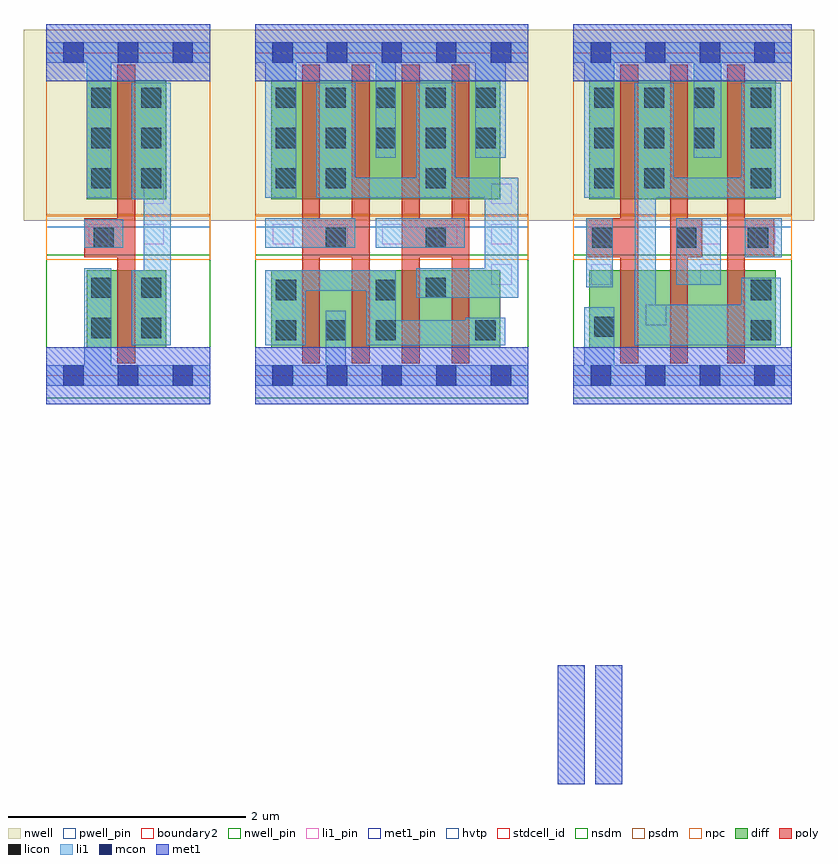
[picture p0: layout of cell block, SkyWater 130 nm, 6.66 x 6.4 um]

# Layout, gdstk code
import gdstk
lib = gdstk.Library(unit=1e-6, precision=1e-09)
def R(c, l, rs):  # rectangles x0, y0, x1, y1
    for r in rs: c.add(gdstk.rectangle(r[:2], r[2:], *l))
def A(c, l, x, y, w, h, nx, ny, dx, dy):  # array of equal rectangles
    R(c, l, [(x+i*dx, y+j*dy, x+i*dx+w, y+j*dy+h) for i in range(nx) for j in range(ny)])
def P(c, l, *ps):  # polygons
    for p in ps: c.add(gdstk.Polygon(p, *l))
nwell_pin = (64, 16)
nwell = (64, 20)
diff = (65, 20)
poly = (66, 20)
licon = (66, 44)
li1_pin = (67, 16)
li1 = (67, 20)
mcon = (67, 44)
met1_pin = (68, 16)
met1 = (68, 20)
hvtp = (78, 44)
stdcell_id = (81, 4)
nsdm = (93, 44)
psdm = (94, 20)
npc = (95, 20)
pwell_pin = (122, 16)
boundary2 = (236, 0)

sky130_fd_sc_hd__inv_1 = lib.new_cell('sky130_fd_sc_hd__inv_1')
R(sky130_fd_sc_hd__inv_1, nwell_pin, [(0.145,2.635,0.315,2.805), (0.145,2.635,0.315,2.805)])
R(sky130_fd_sc_hd__inv_1, nwell, [(-0.19,1.305,1.57,2.91)])
R(sky130_fd_sc_hd__inv_1, diff, [(0.34,0.235,1.01,0.885), (0.34,1.485,1.01,2.485)])
P(sky130_fd_sc_hd__inv_1, poly, [(0.6,0.105),(0.6,0.995),(0.32,0.995),(0.32,1.325),(0.6,1.325),(0.6,2.615),(0.75,2.615),(0.75,0.105)])
A(sky130_fd_sc_hd__inv_1, licon, 0.38, 1.575, 0.17, 0.17, 1, 3, 0, 0.34)
A(sky130_fd_sc_hd__inv_1, licon, 0.8, 1.575, 0.17, 0.17, 1, 3, 0, 0.34)
R(sky130_fd_sc_hd__inv_1, licon, [(0.38,0.315,0.55,0.485), (0.8,0.315,0.97,0.485), (0.38,0.655,0.55,0.825), (0.8,0.655,0.97,0.825), (0.4,1.075,0.57,1.245)])
R(sky130_fd_sc_hd__inv_1, li1_pin, [(0.36,1.105,0.53,1.275), (0.82,1.105,0.99,1.275), (0.82,1.445,0.99,1.615)])
R(sky130_fd_sc_hd__inv_1, li1, [(0,-0.085,1.38,0.085), (0.32,0.005,0.55,0.905), (0.32,1.075,0.65,1.315), (0.34,1.495,0.55,2.675), (0,2.635,1.38,2.805)])
P(sky130_fd_sc_hd__inv_1, li1, [(0.72,0.255),(0.72,0.885),(0.82,0.885),(0.82,1.485),(0.72,1.485),(0.72,2.465),(1.05,2.465),(1.05,0.255)])
A(sky130_fd_sc_hd__inv_1, mcon, 0.145, -0.085, 0.17, 0.17, 3, 2, 0.46, 2.72)
R(sky130_fd_sc_hd__inv_1, met1_pin, [(0.145,-0.085,0.315,0.085), (0.145,-0.085,0.315,0.085), (0.145,2.635,0.315,2.805), (0.145,2.635,0.315,2.805)])
R(sky130_fd_sc_hd__inv_1, hvtp, [(0,1.25,1.38,2.72)])
R(sky130_fd_sc_hd__inv_1, stdcell_id, [(0,0,1.38,2.72)])
R(sky130_fd_sc_hd__inv_1, nsdm, [(0,-0.19,1.38,1.015)])
R(sky130_fd_sc_hd__inv_1, psdm, [(0,1.355,1.38,2.91)])
R(sky130_fd_sc_hd__inv_1, npc, [(0,0.975,1.38,1.345)])
R(sky130_fd_sc_hd__inv_1, pwell_pin, [(0.145,-0.085,0.315,0.085), (0.145,-0.085,0.315,0.085)])
R(sky130_fd_sc_hd__inv_1, boundary2, [(0,0,1.38,2.72)])
sky130_fd_sc_hd__inv_1.add(gdstk.FlexPath([(0,2.72),(1.38,2.72)], 0.48, ends="flush", simple_path=True, layer=68, datatype=20))  # met1
sky130_fd_sc_hd__inv_1.add(gdstk.FlexPath([(0,0),(1.38,0)], 0.48, ends="flush", simple_path=True, layer=68, datatype=20))  # met1
sky130_fd_sc_hd__inv_1.add(gdstk.Label('Y', (0.905,1.53), layer=67, texttype=5))
sky130_fd_sc_hd__inv_1.add(gdstk.Label('Y', (0.905,1.19), layer=67, texttype=5))
sky130_fd_sc_hd__inv_1.add(gdstk.Label('A', (0.445,1.19), layer=67, texttype=5))
sky130_fd_sc_hd__inv_1.add(gdstk.Label('VPB', (0.23,2.72), layer=64, texttype=5))
sky130_fd_sc_hd__inv_1.add(gdstk.Label('VNB', (0.23,0), layer=64, texttype=59))
sky130_fd_sc_hd__inv_1.add(gdstk.Label('VGND', (0.23,0), layer=68, texttype=5))
sky130_fd_sc_hd__inv_1.add(gdstk.Label('VPWR', (0.23,2.72), layer=68, texttype=5))
sky130_fd_sc_hd__inv_1.add(gdstk.Label('inv_1', (0,0), layer=83, texttype=44))

sky130_fd_sc_hd__nand2_2 = lib.new_cell('sky130_fd_sc_hd__nand2_2')
R(sky130_fd_sc_hd__nand2_2, nwell_pin, [(0.15,2.635,0.32,2.805)])
R(sky130_fd_sc_hd__nand2_2, nwell, [(-0.19,1.305,2.49,2.91)])
R(sky130_fd_sc_hd__nand2_2, diff, [(0.135,0.235,2.065,0.885), (0.135,1.485,2.065,2.485)])
P(sky130_fd_sc_hd__nand2_2, poly, [(1.235,0.105),(1.235,2.615),(1.385,2.615),(1.385,1.325),(1.655,1.325),(1.655,2.615),(1.805,2.615),(1.805,0.105),(1.655,0.105),(1.655,0.995),(1.385,0.995),(1.385,0.105)],
  [(0.395,0.105),(0.395,2.615),(0.545,2.615),(0.545,1.325),(0.815,1.325),(0.815,2.615),(0.965,2.615),(0.965,0.105),(0.815,0.105),(0.815,0.995),(0.545,0.995),(0.545,0.105)])
A(sky130_fd_sc_hd__nand2_2, licon, 0.175, 0.295, 0.17, 0.17, 3, 1, 0.42, 0)
A(sky130_fd_sc_hd__nand2_2, licon, 0.175, 1.915, 0.17, 0.17, 5, 2, 0.42, 0.34)
R(sky130_fd_sc_hd__nand2_2, licon, [(1.855,0.295,2.025,0.465), (0.175,0.635,0.345,0.805), (1.015,0.635,1.185,0.805), (1.435,0.655,1.605,0.825), (0.595,1.075,0.765,1.245), (1.435,1.075,1.605,1.245), (0.175,1.575,0.345,1.745), (0.595,1.575,0.765,1.745), (1.435,1.575,1.605,1.745)])
A(sky130_fd_sc_hd__nand2_2, li1_pin, 0.15, 1.105, 0.17, 0.17, 5, 1, 0.46, 0)
R(sky130_fd_sc_hd__nand2_2, li1_pin, [(1.99,0.765,2.16,0.935), (1.99,1.445,2.16,1.615)])
R(sky130_fd_sc_hd__nand2_2, li1, [(0.085,1.075,0.845,1.325), (1.015,1.075,1.765,1.325)])
P(sky130_fd_sc_hd__nand2_2, li1, [(0,-0.085),(0,0.085),(0.595,0.085),(0.595,0.545),(0.765,0.545),(0.765,0.085),(2.3,0.085),(2.3,-0.085)],
  [(0.085,1.495),(0.085,2.635),(0,2.635),(0,2.805),(2.3,2.805),(2.3,2.635),(2.11,2.635),(2.11,1.835),(1.855,1.835),(1.855,2.635),(1.185,2.635),(1.185,1.835),(1.015,1.835),(1.015,2.635),(0.345,2.635),(0.345,1.495)],
  [(0.085,0.255),(0.085,0.885),(1.185,0.885),(1.185,0.465),(1.775,0.465),(1.775,0.485),(2.105,0.485),(2.105,0.255),(0.935,0.255),(0.935,0.715),(0.425,0.715),(0.425,0.255)],
  [(1.355,0.655),(1.355,0.905),(1.935,0.905),(1.935,1.495),(0.515,1.495),(0.515,2.465),(0.845,2.465),(0.845,1.665),(1.355,1.665),(1.355,2.465),(1.685,2.465),(1.685,1.665),(2.215,1.665),(2.215,0.655)])
A(sky130_fd_sc_hd__nand2_2, mcon, 0.145, -0.085, 0.17, 0.17, 5, 2, 0.46, 2.72)
R(sky130_fd_sc_hd__nand2_2, met1_pin, [(0.15,-0.085,0.32,0.085), (0.15,2.635,0.32,2.805)])
R(sky130_fd_sc_hd__nand2_2, hvtp, [(0,1.25,2.3,2.72)])
R(sky130_fd_sc_hd__nand2_2, stdcell_id, [(0,0,2.3,2.72)])
R(sky130_fd_sc_hd__nand2_2, nsdm, [(0,-0.19,2.3,1.015)])
R(sky130_fd_sc_hd__nand2_2, psdm, [(0,1.355,2.3,2.91)])
R(sky130_fd_sc_hd__nand2_2, npc, [(0,0.975,2.3,1.345)])
R(sky130_fd_sc_hd__nand2_2, pwell_pin, [(0.15,-0.085,0.32,0.085)])
R(sky130_fd_sc_hd__nand2_2, boundary2, [(0,0,2.3,2.72)])
sky130_fd_sc_hd__nand2_2.add(gdstk.FlexPath([(0,2.72),(2.3,2.72)], 0.48, ends="flush", simple_path=True, layer=68, datatype=20))  # met1
sky130_fd_sc_hd__nand2_2.add(gdstk.FlexPath([(0,0),(2.3,0)], 0.48, ends="flush", simple_path=True, layer=68, datatype=20))  # met1
sky130_fd_sc_hd__nand2_2.add(gdstk.Label('Y', (2.075,0.85), layer=67, texttype=5))
sky130_fd_sc_hd__nand2_2.add(gdstk.Label('Y', (2.075,1.19), layer=67, texttype=5))
sky130_fd_sc_hd__nand2_2.add(gdstk.Label('Y', (2.075,1.53), layer=67, texttype=5))
sky130_fd_sc_hd__nand2_2.add(gdstk.Label('A', (1.615,1.19), layer=67, texttype=5))
sky130_fd_sc_hd__nand2_2.add(gdstk.Label('B', (0.695,1.19), layer=67, texttype=5))
sky130_fd_sc_hd__nand2_2.add(gdstk.Label('VPB', (0.23,2.72), layer=64, texttype=5))
sky130_fd_sc_hd__nand2_2.add(gdstk.Label('VNB', (0.23,0), layer=64, texttype=59))
sky130_fd_sc_hd__nand2_2.add(gdstk.Label('VGND', (0.23,0), layer=68, texttype=5))
sky130_fd_sc_hd__nand2_2.add(gdstk.Label('VPWR', (0.23,2.72), layer=68, texttype=5))
sky130_fd_sc_hd__nand2_2.add(gdstk.Label('nand2_2', (0,0), layer=83, texttype=44))

sky130_fd_sc_hd__nand3_1 = lib.new_cell('sky130_fd_sc_hd__nand3_1')
R(sky130_fd_sc_hd__nand3_1, nwell_pin, [(0.15,2.635,0.32,2.805)])
R(sky130_fd_sc_hd__nand3_1, nwell, [(-0.19,1.305,2.03,2.91)])
R(sky130_fd_sc_hd__nand3_1, diff, [(0.135,0.235,1.705,0.885), (0.135,1.485,1.705,2.485)])
P(sky130_fd_sc_hd__nand3_1, poly, [(1.295,0.105),(1.295,2.615),(1.445,2.615),(1.445,1.325),(1.69,1.325),(1.69,0.995),(1.445,0.995),(1.445,0.105)],
  [(0.815,0.105),(0.815,2.615),(0.965,2.615),(0.965,1.325),(1.085,1.325),(1.085,0.995),(0.965,0.995),(0.965,0.105)],
  [(0.395,0.105),(0.395,0.995),(0.11,0.995),(0.11,1.325),(0.395,1.325),(0.395,2.615),(0.545,2.615),(0.545,0.105)])
A(sky130_fd_sc_hd__nand3_1, licon, 1.495, 1.575, 0.17, 0.17, 1, 3, 0, 0.34)
A(sky130_fd_sc_hd__nand3_1, licon, 0.175, 1.915, 0.17, 0.17, 3, 2, 0.42, 0.34)
R(sky130_fd_sc_hd__nand3_1, licon, [(1.495,0.295,1.665,0.465), (0.175,0.325,0.345,0.495), (1.495,0.635,1.665,0.805), (0.16,1.075,0.33,1.245), (0.865,1.075,1.035,1.245), (1.47,1.075,1.64,1.245), (0.175,1.575,0.345,1.745), (0.595,1.575,0.765,1.745)])
R(sky130_fd_sc_hd__nand3_1, li1_pin, [(0.61,0.425,0.78,0.595), (0.15,0.765,0.32,0.935), (1.07,0.765,1.24,0.935), (0.15,1.105,0.32,1.275), (1.07,1.105,1.24,1.275), (1.53,1.105,1.7,1.275)])
R(sky130_fd_sc_hd__nand3_1, li1, [(0.11,0.745,0.33,1.325), (0.865,0.765,1.24,1.325), (1.445,0.995,1.755,1.325)])
P(sky130_fd_sc_hd__nand3_1, li1, [(0.09,1.495),(0.09,2.635),(0,2.635),(0,2.805),(1.84,2.805),(1.84,2.635),(1.245,2.635),(1.245,1.835),(1.015,1.835),(1.015,2.635),(0.345,2.635),(0.345,1.495)],
  [(0,-0.085),(0,0.085),(0.09,0.085),(0.09,0.575),(0.345,0.575),(0.345,0.085),(1.84,0.085),(1.84,-0.085)],
  [(0.515,0.255),(0.515,2.465),(0.845,2.465),(0.845,1.665),(1.415,1.665),(1.415,2.465),(1.745,2.465),(1.745,1.495),(0.695,1.495),(0.695,0.595),(1.415,0.595),(1.415,0.825),(1.745,0.825),(1.745,0.255)])
A(sky130_fd_sc_hd__nand3_1, mcon, 0.145, -0.085, 0.17, 0.17, 4, 2, 0.46, 2.72)
R(sky130_fd_sc_hd__nand3_1, met1_pin, [(0.15,-0.085,0.32,0.085), (0.15,2.635,0.32,2.805)])
R(sky130_fd_sc_hd__nand3_1, hvtp, [(0,1.25,1.84,2.72)])
R(sky130_fd_sc_hd__nand3_1, stdcell_id, [(0,0,1.84,2.72)])
R(sky130_fd_sc_hd__nand3_1, nsdm, [(0,-0.19,1.84,1.015)])
R(sky130_fd_sc_hd__nand3_1, psdm, [(0,1.355,1.84,2.91)])
R(sky130_fd_sc_hd__nand3_1, npc, [(0,0.975,1.84,1.345)])
R(sky130_fd_sc_hd__nand3_1, pwell_pin, [(0.15,-0.085,0.32,0.085)])
R(sky130_fd_sc_hd__nand3_1, boundary2, [(0,0,1.84,2.72)])
sky130_fd_sc_hd__nand3_1.add(gdstk.FlexPath([(0,2.72),(1.84,2.72)], 0.48, ends="flush", simple_path=True, layer=68, datatype=20))  # met1
sky130_fd_sc_hd__nand3_1.add(gdstk.FlexPath([(0,0),(1.84,0)], 0.48, ends="flush", simple_path=True, layer=68, datatype=20))  # met1
sky130_fd_sc_hd__nand3_1.add(gdstk.Label('Y', (0.695,0.51), layer=67, texttype=5))
sky130_fd_sc_hd__nand3_1.add(gdstk.Label('A', (1.615,1.19), layer=67, texttype=5))
sky130_fd_sc_hd__nand3_1.add(gdstk.Label('C', (0.235,1.19), layer=67, texttype=5))
sky130_fd_sc_hd__nand3_1.add(gdstk.Label('B', (1.155,1.19), layer=67, texttype=5))
sky130_fd_sc_hd__nand3_1.add(gdstk.Label('VPB', (0.235,2.72), layer=64, texttype=5))
sky130_fd_sc_hd__nand3_1.add(gdstk.Label('VNB', (0.235,0), layer=64, texttype=59))
sky130_fd_sc_hd__nand3_1.add(gdstk.Label('VGND', (0.235,0), layer=68, texttype=5))
sky130_fd_sc_hd__nand3_1.add(gdstk.Label('VPWR', (0.235,2.72), layer=68, texttype=5))
sky130_fd_sc_hd__nand3_1.add(gdstk.Label('nand3_1', (0,0), layer=83, texttype=44))

block = lib.new_cell('block')
R(block, met1, [(4.31,-3.44,4.535,-2.44), (4.625,-3.44,4.85,-2.44)])
block.add(gdstk.Reference(sky130_fd_sc_hd__inv_1, (0,0)))
block.add(gdstk.Reference(sky130_fd_sc_hd__nand2_2, (1.76,0)))
block.add(gdstk.Reference(sky130_fd_sc_hd__nand3_1, (4.44,0)))

lib.write_gds('block.gds')
